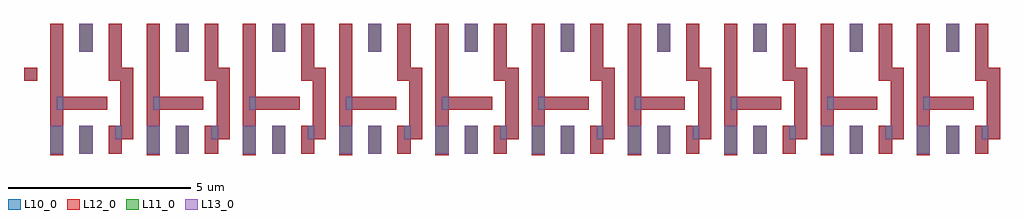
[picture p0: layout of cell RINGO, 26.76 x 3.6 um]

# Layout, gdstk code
import gdstk
lib = gdstk.Library(unit=1e-6, precision=1e-09)
def R(c, l, rs):  # rectangles x0, y0, x1, y1
    for r in rs: c.add(gdstk.rectangle(r[:2], r[2:], *l))
def A(c, l, x, y, w, h, nx, ny, dx, dy):  # array of equal rectangles
    R(c, l, [(x+i*dx, y+j*dy, x+i*dx+w, y+j*dy+h) for i in range(nx) for j in range(ny)])
def P(c, l, *ps):  # polygons
    for p in ps: c.add(gdstk.Polygon(p, *l))
L10_0 = (10, 0)
L11_0 = (11, 0)
L12_0 = (12, 0)
L13_0 = (13, 0)

ringo = lib.new_cell('RINGO')
A(ringo, L10_0, -0.18, -0.38, 0.36, 0.76, 10, 2, 2.64, 2.8)
R(ringo, L10_0, [(-1.7,1.62,-1.34,1.98)])
P(ringo, L10_0, [(-0.98,-0.42),(-0.98,3.18),(-0.62,3.18),(-0.62,1.18),(0.58,1.18),(0.58,0.82),(-0.62,0.82),(-0.62,-0.42)],
  [(0.62,-0.38),(0.62,0.38),(0.94,0.38),(0.94,1.62),(0.62,1.62),(0.62,3.18),(0.98,3.18),(0.98,1.98),(1.3,1.98),(1.3,0.02),(0.98,0.02),(0.98,-0.38)],
  [(1.66,-0.42),(1.66,3.18),(2.02,3.18),(2.02,1.18),(3.22,1.18),(3.22,0.82),(2.02,0.82),(2.02,-0.42)],
  [(3.26,-0.38),(3.26,0.38),(3.58,0.38),(3.58,1.62),(3.26,1.62),(3.26,3.18),(3.62,3.18),(3.62,1.98),(3.94,1.98),(3.94,0.02),(3.62,0.02),(3.62,-0.38)],
  [(4.3,-0.42),(4.3,3.18),(4.66,3.18),(4.66,1.18),(5.86,1.18),(5.86,0.82),(4.66,0.82),(4.66,-0.42)],
  [(5.9,-0.38),(5.9,0.38),(6.22,0.38),(6.22,1.62),(5.9,1.62),(5.9,3.18),(6.26,3.18),(6.26,1.98),(6.58,1.98),(6.58,0.02),(6.26,0.02),(6.26,-0.38)],
  [(6.94,-0.42),(6.94,3.18),(7.3,3.18),(7.3,1.18),(8.5,1.18),(8.5,0.82),(7.3,0.82),(7.3,-0.42)],
  [(8.54,-0.38),(8.54,0.38),(8.86,0.38),(8.86,1.62),(8.54,1.62),(8.54,3.18),(8.9,3.18),(8.9,1.98),(9.22,1.98),(9.22,0.02),(8.9,0.02),(8.9,-0.38)],
  [(9.58,-0.42),(9.58,3.18),(9.94,3.18),(9.94,1.18),(11.14,1.18),(11.14,0.82),(9.94,0.82),(9.94,-0.42)],
  [(11.18,-0.38),(11.18,0.38),(11.5,0.38),(11.5,1.62),(11.18,1.62),(11.18,3.18),(11.54,3.18),(11.54,1.98),(11.86,1.98),(11.86,0.02),(11.54,0.02),(11.54,-0.38)],
  [(12.22,-0.42),(12.22,3.18),(12.58,3.18),(12.58,1.18),(13.78,1.18),(13.78,0.82),(12.58,0.82),(12.58,-0.42)],
  [(13.82,-0.38),(13.82,0.38),(14.14,0.38),(14.14,1.62),(13.82,1.62),(13.82,3.18),(14.18,3.18),(14.18,1.98),(14.5,1.98),(14.5,0.02),(14.18,0.02),(14.18,-0.38)],
  [(14.86,-0.42),(14.86,3.18),(15.22,3.18),(15.22,1.18),(16.42,1.18),(16.42,0.82),(15.22,0.82),(15.22,-0.42)],
  [(16.46,-0.38),(16.46,0.38),(16.78,0.38),(16.78,1.62),(16.46,1.62),(16.46,3.18),(16.82,3.18),(16.82,1.98),(17.14,1.98),(17.14,0.02),(16.82,0.02),(16.82,-0.38)],
  [(17.5,-0.42),(17.5,3.18),(17.86,3.18),(17.86,1.18),(19.06,1.18),(19.06,0.82),(17.86,0.82),(17.86,-0.42)],
  [(19.1,-0.38),(19.1,0.38),(19.42,0.38),(19.42,1.62),(19.1,1.62),(19.1,3.18),(19.46,3.18),(19.46,1.98),(19.78,1.98),(19.78,0.02),(19.46,0.02),(19.46,-0.38)],
  [(20.14,-0.42),(20.14,3.18),(20.5,3.18),(20.5,1.18),(21.7,1.18),(21.7,0.82),(20.5,0.82),(20.5,-0.42)],
  [(21.74,-0.38),(21.74,0.38),(22.06,0.38),(22.06,1.62),(21.74,1.62),(21.74,3.18),(22.1,3.18),(22.1,1.98),(22.42,1.98),(22.42,0.02),(22.1,0.02),(22.1,-0.38)],
  [(22.78,-0.42),(22.78,3.18),(23.14,3.18),(23.14,1.18),(24.34,1.18),(24.34,0.82),(23.14,0.82),(23.14,-0.42)],
  [(24.38,-0.38),(24.38,0.38),(24.7,0.38),(24.7,1.62),(24.38,1.62),(24.38,3.18),(24.74,3.18),(24.74,1.98),(25.06,1.98),(25.06,0.02),(24.74,0.02),(24.74,-0.38)])
A(ringo, L11_0, 0.8, 0.02, 0.18, 0.36, 10, 1, 2.64, 0)
A(ringo, L11_0, -0.8, 0.82, 0.18, 0.36, 10, 1, 2.64, 0)
A(ringo, L11_0, -0.18, 2.42, 0.36, 0.76, 10, 1, 2.64, 0)
R(ringo, L11_0, [(-0.98,-0.38,-0.62,0.38), (-0.18,-0.38,0.18,0.38), (1.66,-0.38,2.02,0.38), (2.46,-0.38,2.82,0.38), (4.3,-0.38,4.66,0.38), (5.1,-0.38,5.46,0.38), (6.94,-0.38,7.3,0.38), (7.74,-0.38,8.1,0.38), (9.58,-0.38,9.94,0.38), (10.38,-0.38,10.74,0.38), (12.22,-0.38,12.58,0.38), (13.02,-0.38,13.38,0.38), (14.86,-0.38,15.22,0.38), (15.66,-0.38,16.02,0.38), (17.5,-0.38,17.86,0.38), (18.3,-0.38,18.66,0.38), (20.14,-0.38,20.5,0.38), (20.94,-0.38,21.3,0.38), (22.78,-0.38,23.14,0.38), (23.58,-0.38,23.94,0.38)])
A(ringo, L12_0, -0.18, -0.38, 0.36, 0.76, 10, 2, 2.64, 2.8)
R(ringo, L12_0, [(-1.7,1.62,-1.34,1.98)])
P(ringo, L12_0, [(-0.98,-0.42),(-0.98,3.18),(-0.62,3.18),(-0.62,1.18),(0.58,1.18),(0.58,0.82),(-0.62,0.82),(-0.62,-0.42)],
  [(0.62,-0.38),(0.62,0.38),(0.94,0.38),(0.94,1.62),(0.62,1.62),(0.62,3.18),(0.98,3.18),(0.98,1.98),(1.3,1.98),(1.3,0.02),(0.98,0.02),(0.98,-0.38)],
  [(1.66,-0.42),(1.66,3.18),(2.02,3.18),(2.02,1.18),(3.22,1.18),(3.22,0.82),(2.02,0.82),(2.02,-0.42)],
  [(3.26,-0.38),(3.26,0.38),(3.58,0.38),(3.58,1.62),(3.26,1.62),(3.26,3.18),(3.62,3.18),(3.62,1.98),(3.94,1.98),(3.94,0.02),(3.62,0.02),(3.62,-0.38)],
  [(4.3,-0.42),(4.3,3.18),(4.66,3.18),(4.66,1.18),(5.86,1.18),(5.86,0.82),(4.66,0.82),(4.66,-0.42)],
  [(5.9,-0.38),(5.9,0.38),(6.22,0.38),(6.22,1.62),(5.9,1.62),(5.9,3.18),(6.26,3.18),(6.26,1.98),(6.58,1.98),(6.58,0.02),(6.26,0.02),(6.26,-0.38)],
  [(6.94,-0.42),(6.94,3.18),(7.3,3.18),(7.3,1.18),(8.5,1.18),(8.5,0.82),(7.3,0.82),(7.3,-0.42)],
  [(8.54,-0.38),(8.54,0.38),(8.86,0.38),(8.86,1.62),(8.54,1.62),(8.54,3.18),(8.9,3.18),(8.9,1.98),(9.22,1.98),(9.22,0.02),(8.9,0.02),(8.9,-0.38)],
  [(9.58,-0.42),(9.58,3.18),(9.94,3.18),(9.94,1.18),(11.14,1.18),(11.14,0.82),(9.94,0.82),(9.94,-0.42)],
  [(11.18,-0.38),(11.18,0.38),(11.5,0.38),(11.5,1.62),(11.18,1.62),(11.18,3.18),(11.54,3.18),(11.54,1.98),(11.86,1.98),(11.86,0.02),(11.54,0.02),(11.54,-0.38)],
  [(12.22,-0.42),(12.22,3.18),(12.58,3.18),(12.58,1.18),(13.78,1.18),(13.78,0.82),(12.58,0.82),(12.58,-0.42)],
  [(13.82,-0.38),(13.82,0.38),(14.14,0.38),(14.14,1.62),(13.82,1.62),(13.82,3.18),(14.18,3.18),(14.18,1.98),(14.5,1.98),(14.5,0.02),(14.18,0.02),(14.18,-0.38)],
  [(14.86,-0.42),(14.86,3.18),(15.22,3.18),(15.22,1.18),(16.42,1.18),(16.42,0.82),(15.22,0.82),(15.22,-0.42)],
  [(16.46,-0.38),(16.46,0.38),(16.78,0.38),(16.78,1.62),(16.46,1.62),(16.46,3.18),(16.82,3.18),(16.82,1.98),(17.14,1.98),(17.14,0.02),(16.82,0.02),(16.82,-0.38)],
  [(17.5,-0.42),(17.5,3.18),(17.86,3.18),(17.86,1.18),(19.06,1.18),(19.06,0.82),(17.86,0.82),(17.86,-0.42)],
  [(19.1,-0.38),(19.1,0.38),(19.42,0.38),(19.42,1.62),(19.1,1.62),(19.1,3.18),(19.46,3.18),(19.46,1.98),(19.78,1.98),(19.78,0.02),(19.46,0.02),(19.46,-0.38)],
  [(20.14,-0.42),(20.14,3.18),(20.5,3.18),(20.5,1.18),(21.7,1.18),(21.7,0.82),(20.5,0.82),(20.5,-0.42)],
  [(21.74,-0.38),(21.74,0.38),(22.06,0.38),(22.06,1.62),(21.74,1.62),(21.74,3.18),(22.1,3.18),(22.1,1.98),(22.42,1.98),(22.42,0.02),(22.1,0.02),(22.1,-0.38)],
  [(22.78,-0.42),(22.78,3.18),(23.14,3.18),(23.14,1.18),(24.34,1.18),(24.34,0.82),(23.14,0.82),(23.14,-0.42)],
  [(24.38,-0.38),(24.38,0.38),(24.7,0.38),(24.7,1.62),(24.38,1.62),(24.38,3.18),(24.74,3.18),(24.74,1.98),(25.06,1.98),(25.06,0.02),(24.74,0.02),(24.74,-0.38)])
A(ringo, L13_0, 0.8, 0.02, 0.18, 0.36, 10, 1, 2.64, 0)
A(ringo, L13_0, -0.8, 0.82, 0.18, 0.36, 10, 1, 2.64, 0)
A(ringo, L13_0, -0.18, 2.42, 0.36, 0.76, 10, 1, 2.64, 0)
R(ringo, L13_0, [(-0.98,-0.38,-0.62,0.38), (-0.18,-0.38,0.18,0.38), (1.66,-0.38,2.02,0.38), (2.46,-0.38,2.82,0.38), (4.3,-0.38,4.66,0.38), (5.1,-0.38,5.46,0.38), (6.94,-0.38,7.3,0.38), (7.74,-0.38,8.1,0.38), (9.58,-0.38,9.94,0.38), (10.38,-0.38,10.74,0.38), (12.22,-0.38,12.58,0.38), (13.02,-0.38,13.38,0.38), (14.86,-0.38,15.22,0.38), (15.66,-0.38,16.02,0.38), (17.5,-0.38,17.86,0.38), (18.3,-0.38,18.66,0.38), (20.14,-0.38,20.5,0.38), (20.94,-0.38,21.3,0.38), (22.78,-0.38,23.14,0.38), (23.58,-0.38,23.94,0.38)])

lib.write_gds('RINGO.gds')
